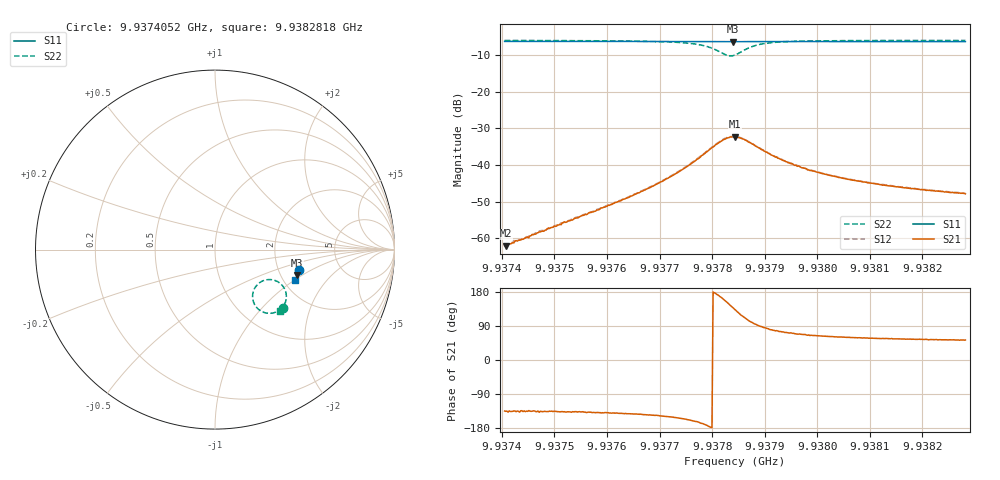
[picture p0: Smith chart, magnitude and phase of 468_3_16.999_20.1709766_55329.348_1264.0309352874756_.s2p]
#  HZ  S  RI  R  50.00
! Rohde & Schwarz Vector Network Analyzer
! Rohde-Schwarz,ZNB20-2Port,1311601062101988,3.16
! Created: UTC 3/20/2024, 11:13:04 PM
! freq[Hz]  re:S11  im:S11  re:S21  im:S21  re:S12  im:S12  re:S22  im:S22
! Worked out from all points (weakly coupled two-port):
!   401 points, 9.9374052 GHz to 9.9382818 GHz, reference 50 ohm
!   highest |S21| = -32.32 dB at 9.9378435 GHz (marker M1); lowest = -62.0 dB at 9.9374074 GHz (marker M2)
!   lowest |S11| = -6.4 dB at 9.9378391 GHz (marker M3), VSWR 2.83, Z = 122 - j45.1 ohm
!   |S11| at or under -10 dB: nowhere
!   |S22| runs from -10.3 to -6.1 dB; largest |S21 - S12| = 0.0011
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9.93740524e9  0.4691 -0.1155  -0.00056 -0.000569  -0.000555 -0.000572  0.3771 -0.3239
9.93740743e9  0.4692 -0.1155  -0.000568 -0.000558  -0.000585 -0.00054  0.377 -0.3241
9.93746879e9  0.4678 -0.1198  -0.000841 -0.000849  -0.00088 -0.000831  0.3712 -0.3289
9.93748413e9  0.4674 -0.1207  -0.000941 -0.000903  -0.000925 -0.000915  0.3698 -0.3301
9.93755206e9  0.4659 -0.1252  -0.00149 -0.0014  -0.00154 -0.00135  0.3617 -0.3362
9.93763752e9  0.4639 -0.131  -0.00278 -0.00219  -0.00285 -0.00217  0.3464 -0.3451
9.93769888e9  0.4623 -0.1352  -0.00475 -0.00311  -0.00491 -0.00306  0.3263 -0.3525
9.93773833e9  0.461 -0.138  -0.00733 -0.00365  -0.00755 -0.00361  0.3029 -0.3549
9.93778654e9  0.459 -0.1411  -0.0142 -0.00244  -0.0146 -0.00213  0.248 -0.3371
9.93780407e9  0.4579 -0.1418  -0.018 0.000842  -0.0184 0.00114  0.2212 -0.307
9.93781941e9  0.4573 -0.1423  -0.0206 0.00632  -0.0209 0.00716  0.2094 -0.2592
9.93783036e9  0.4568 -0.1424  -0.0203 0.0118  -0.0205 0.0127  0.2201 -0.2171
9.93783913e9  0.4567 -0.1424  -0.0181 0.016  -0.0179 0.0169  0.2437 -0.1881
9.93784351e9  0.4569 -0.1424  -0.0164 0.0178  -0.016 0.0184  0.2596 -0.1776
9.93785666e9  0.4572 -0.1429  -0.0104 0.0204  -0.00989 0.0209  0.3105 -0.1671
9.93786981e9  0.4576 -0.1435  -0.00484 0.0198  -0.00449 0.0203  0.3508 -0.1795
9.9378961e9  0.4576 -0.1455  0.000933 0.016  0.00141 0.0161  0.3888 -0.2211
9.93793993e9  0.457 -0.149  0.00331 0.0106  0.00348 0.0106  0.3978 -0.2677
9.93799033e9  0.4559 -0.1526  0.00353 0.00754  0.00371 0.00758  0.3922 -0.2941
9.93805388e9  0.4542 -0.1569  0.00325 0.00561  0.0034 0.00563  0.3841 -0.3117
9.93813716e9  0.452 -0.1624  0.00288 0.00432  0.00299 0.00435  0.3753 -0.3252
9.93828179e9  0.4481 -0.1718  0.00244 0.00322  0.00259 0.00321  0.363 -0.3397
